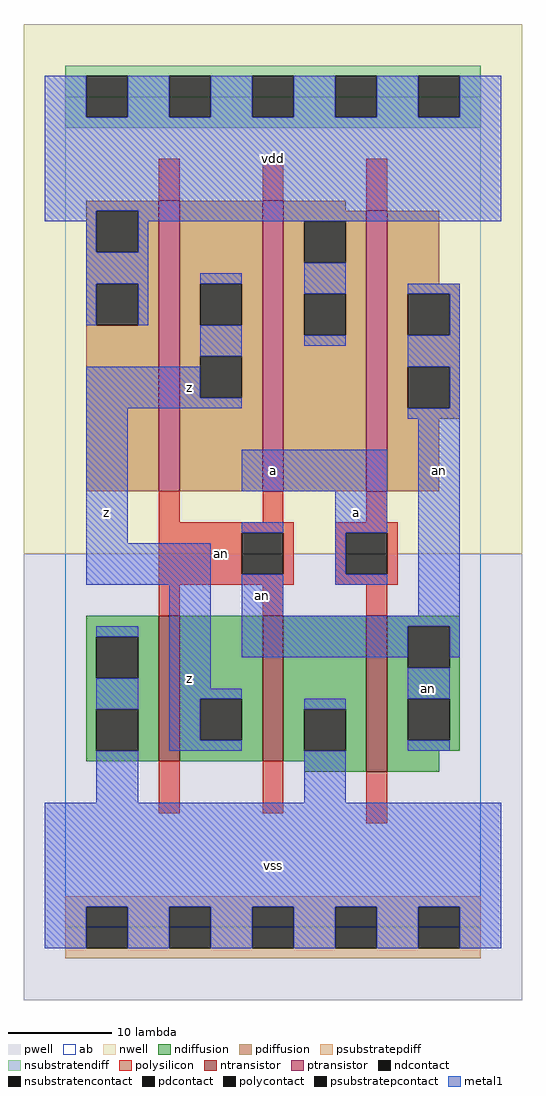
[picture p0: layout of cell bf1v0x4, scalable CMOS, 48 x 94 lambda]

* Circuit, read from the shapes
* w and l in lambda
.subckt bf1v0x4 a an vdd vss z
M1 z an vss vss nfet w=14 l=2 m=2
M2 an a vss vss nfet w=15 l=2
M3 z an vdd vdd pfet w=28 l=2 m=2
M4 an a vdd vdd pfet w=27 l=2
.ends

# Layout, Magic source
magic
tech scmos
<< ab >>
rect 0 0 40 80
<< pwell >>
rect -4 -7 44 36
<< nwell >>
rect -4 36 44 87
<< polysilicon >>
rect 9 70 11 74
rect 19 70 21 74
rect 29 69 31 74
rect 9 39 11 42
rect 19 39 21 42
rect 29 39 31 42
rect 9 38 22 39
rect 9 34 17 38
rect 21 34 22 38
rect 9 33 22 34
rect 26 38 32 39
rect 26 34 27 38
rect 31 34 32 38
rect 26 33 32 34
rect 9 30 11 33
rect 19 30 21 33
rect 29 30 31 33
rect 9 11 11 16
rect 19 11 21 16
rect 29 10 31 15
<< ndiffusion >>
rect 2 28 9 30
rect 2 24 3 28
rect 7 24 9 28
rect 2 21 9 24
rect 2 17 3 21
rect 7 17 9 21
rect 2 16 9 17
rect 11 22 19 30
rect 11 18 13 22
rect 17 18 19 22
rect 11 16 19 18
rect 21 21 29 30
rect 21 17 23 21
rect 27 17 29 21
rect 21 16 29 17
rect 23 15 29 16
rect 31 29 38 30
rect 31 25 33 29
rect 37 25 38 29
rect 31 22 38 25
rect 31 18 33 22
rect 37 18 38 22
rect 31 17 38 18
rect 31 15 36 17
<< pdiffusion >>
rect 2 69 9 70
rect 2 65 3 69
rect 7 65 9 69
rect 2 62 9 65
rect 2 58 3 62
rect 7 58 9 62
rect 2 42 9 58
rect 11 62 19 70
rect 11 58 13 62
rect 17 58 19 62
rect 11 55 19 58
rect 11 51 13 55
rect 17 51 19 55
rect 11 42 19 51
rect 21 69 27 70
rect 21 68 29 69
rect 21 64 23 68
rect 27 64 29 68
rect 21 61 29 64
rect 21 57 23 61
rect 27 57 29 61
rect 21 42 29 57
rect 31 62 36 69
rect 31 61 38 62
rect 31 57 33 61
rect 37 57 38 61
rect 31 54 38 57
rect 31 50 33 54
rect 37 50 38 54
rect 31 49 38 50
rect 31 42 36 49
<< metal1 >>
rect -2 78 2 82
rect 6 78 10 82
rect 14 78 18 82
rect 22 78 26 82
rect 30 78 34 82
rect 38 78 42 82
rect -2 69 42 78
rect -2 68 3 69
rect 2 65 3 68
rect 7 68 42 69
rect 7 65 8 68
rect 2 62 8 65
rect 2 58 3 62
rect 7 58 8 62
rect 13 62 17 63
rect 13 55 17 58
rect 23 61 27 64
rect 23 56 27 57
rect 33 61 38 62
rect 37 57 38 61
rect 2 51 13 54
rect 2 50 17 51
rect 33 54 38 57
rect 37 50 38 54
rect 2 37 6 50
rect 33 49 38 50
rect 17 42 31 46
rect 17 38 21 39
rect 2 33 14 37
rect 3 28 7 29
rect 3 21 7 24
rect 10 23 14 33
rect 17 30 21 34
rect 26 38 31 42
rect 26 34 27 38
rect 26 33 31 34
rect 34 30 38 49
rect 17 29 38 30
rect 17 26 33 29
rect 37 26 38 29
rect 10 22 17 23
rect 33 22 37 25
rect 10 18 13 22
rect 10 17 17 18
rect 23 21 27 22
rect 33 17 37 18
rect 3 12 7 17
rect 23 12 27 17
rect -2 2 42 12
rect -2 -2 2 2
rect 6 -2 10 2
rect 14 -2 18 2
rect 22 -2 26 2
rect 30 -2 34 2
rect 38 -2 42 2
<< ntransistor >>
rect 9 16 11 30
rect 19 16 21 30
rect 29 15 31 30
<< ptransistor >>
rect 9 42 11 70
rect 19 42 21 70
rect 29 42 31 69
<< polycontact >>
rect 17 34 21 38
rect 27 34 31 38
<< ndcontact >>
rect 3 24 7 28
rect 3 17 7 21
rect 13 18 17 22
rect 23 17 27 21
rect 33 25 37 29
rect 33 18 37 22
<< pdcontact >>
rect 3 65 7 69
rect 3 58 7 62
rect 13 58 17 62
rect 13 51 17 55
rect 23 64 27 68
rect 23 57 27 61
rect 33 57 37 61
rect 33 50 37 54
<< psubstratepcontact >>
rect 2 -2 6 2
rect 10 -2 14 2
rect 18 -2 22 2
rect 26 -2 30 2
rect 34 -2 38 2
<< nsubstratencontact >>
rect 2 78 6 82
rect 10 78 14 82
rect 18 78 22 82
rect 26 78 30 82
rect 34 78 38 82
<< psubstratepdiff >>
rect 0 2 40 3
rect 0 -2 2 2
rect 6 -2 10 2
rect 14 -2 18 2
rect 22 -2 26 2
rect 30 -2 34 2
rect 38 -2 40 2
rect 0 -3 40 -2
<< nsubstratendiff >>
rect 0 82 40 83
rect 0 78 2 82
rect 6 78 10 82
rect 14 78 18 82
rect 22 78 26 82
rect 30 78 34 82
rect 38 78 40 82
rect 0 77 40 78
<< labels >>
rlabel polysilicon 15 36 15 36 6 an
rlabel metal1 4 40 4 40 6 z
rlabel metal1 12 24 12 24 6 z
rlabel metal1 12 52 12 52 6 z
rlabel metal1 20 6 20 6 6 vss
rlabel metal1 19 32 19 32 6 an
rlabel metal1 28 40 28 40 6 a
rlabel metal1 20 44 20 44 6 a
rlabel metal1 20 74 20 74 6 vdd
rlabel metal1 35 23 35 23 6 an
rlabel metal1 36 44 36 44 6 an
<< end >>
